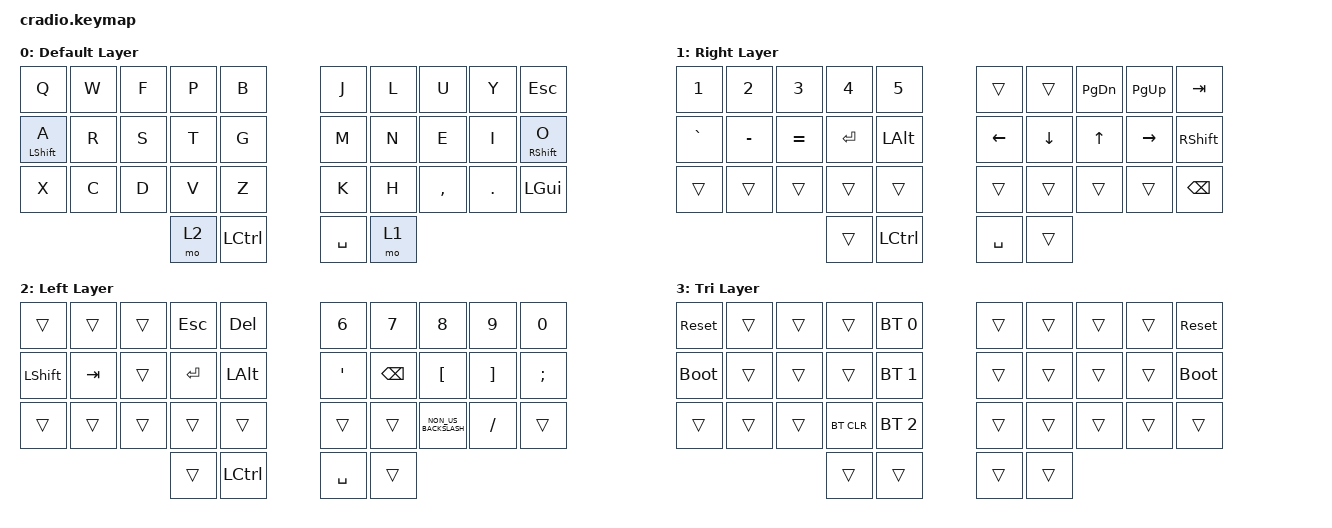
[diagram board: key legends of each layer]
#include <behaviors.dtsi>
#include <dt-bindings/zmk/bt.h>
#include <dt-bindings/zmk/keys.h>

// Macros removed to satisfy Keymap Editor
// HRML and HRMR expanded manually in the keymap below

/ {
    behaviors {
        ht: hold_tap {
            compatible = "zmk,behavior-hold-tap";
            #binding-cells = <2>;
            flavor = "tap-preferred";
            tapping-term-ms = <220>;
            quick-tap-ms = <150>;
            require-prior-idle-ms = <100>;
            bindings = <&kp>, <&kp>;
        };
    };

    conditional_layers {
        compatible = "zmk,conditional-layers";

        tri_layer {
            if-layers = <1 2>;
            then-layer = <3>;
        };
    };

    keymap {
        compatible = "zmk,keymap";

        default_layer {
            display-name = "Default Layer";
            bindings = <
&kp Q         &kp W  &kp F  &kp P  &kp B        &kp J      &kp L  &kp U      &kp Y    &kp ESC
&ht LSHIFT A  &kp R  &kp S  &kp T  &kp G        &kp M      &kp N  &kp E      &kp I    &ht RSHIFT O
&kp X         &kp C  &kp D  &kp V  &kp Z        &kp K      &kp H  &kp COMMA  &kp DOT  &kp LEFT_GUI
                            &mo 2  &kp LCTRL    &kp SPACE  &mo 1
            >;
        };

        right_layer {
            display-name = "Right Layer";
            bindings = <
&kp NUMBER_1  &kp NUMBER_2  &kp NUMBER_3  &kp NUMBER_4  &kp N5          &trans     &trans    &kp PAGE_DOWN  &kp PAGE_UP  &kp TAB
&kp GRAVE     &kp MINUS     &kp EQUAL     &kp ENTER     &kp LEFT_ALT    &kp LEFT   &kp DOWN  &kp UP_ARROW   &kp RIGHT    &kp RSHFT
&trans        &trans        &trans        &trans        &trans          &trans     &trans    &trans         &trans       &kp BACKSPACE
                                          &trans        &kp LCTRL       &kp SPACE  &trans
            >;
        };

        left_layer {
            display-name = "Left Layer";
            bindings = <
&trans          &trans   &trans  &kp ESC    &kp DEL         &kp NUMBER_6  &kp N7         &kp N8                &kp N9             &kp N0
&kp LEFT_SHIFT  &kp TAB  &trans  &kp ENTER  &kp LEFT_ALT    &kp SQT       &kp BACKSPACE  &kp LEFT_BRACKET      &kp RIGHT_BRACKET  &kp SEMICOLON
&trans          &trans   &trans  &trans     &trans          &trans        &trans         &kp NON_US_BACKSLASH  &kp SLASH          &trans
                                 &trans     &kp LCTRL       &kp SPACE     &trans
            >;
        };

        tri_layer {
            display-name = "Tri Layer";
            bindings = <
&sys_reset   &trans  &trans  &trans      &bt BT_SEL 0    &trans  &trans  &trans  &trans  &sys_reset
&bootloader  &trans  &trans  &trans      &bt BT_SEL 1    &trans  &trans  &trans  &trans  &bootloader
&trans       &trans  &trans  &bt BT_CLR  &bt BT_SEL 2    &trans  &trans  &trans  &trans  &trans
                             &trans      &trans          &trans  &trans
            >;
        };
    };
};
